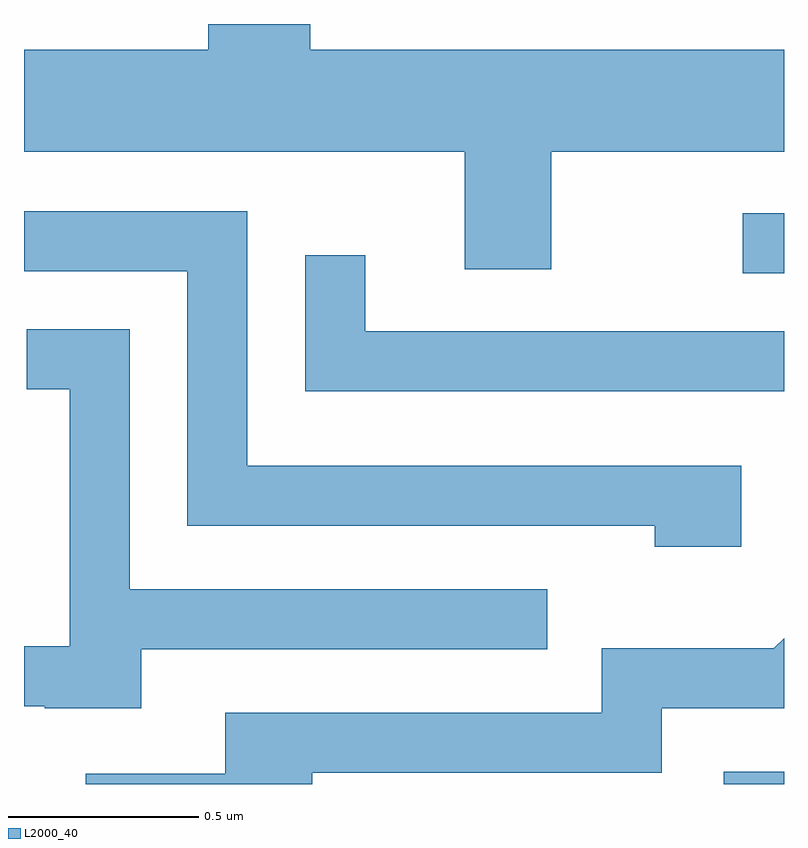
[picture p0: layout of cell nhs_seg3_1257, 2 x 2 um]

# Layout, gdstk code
import gdstk
lib = gdstk.Library(unit=1e-6, precision=1e-09)
def R(c, l, rs):  # rectangles x0, y0, x1, y1
    for r in rs: c.add(gdstk.rectangle(r[:2], r[2:], *l))
def P(c, l, *ps):  # polygons
    for p in ps: c.add(gdstk.Polygon(p, *l))
L2000_40 = (2000, 40)

nhs_seg3_1257 = lib.new_cell('nhs_seg3_1257')
R(nhs_seg3_1257, L2000_40, [(196.453,1139.892,196.611,1139.924), (196.503,1141.236,196.611,1141.394)])
P(nhs_seg3_1257, L2000_40, [(195.999,1141.556),(196.611,1141.556),(196.611,1141.824),(195.364,1141.824),(195.364,1141.892),(195.096,1141.892),(195.096,1141.824),(194.611,1141.824),(194.611,1141.556),(195.771,1141.556),(195.771,1141.246),(195.999,1141.246)],
  [(196.499,1140.729),(195.199,1140.729),(195.199,1141.399),(194.611,1141.399),(194.611,1141.241),(195.041,1141.241),(195.041,1140.571),(196.271,1140.571),(196.271,1140.516),(196.499,1140.516)],
  [(196.611,1141.084),(195.509,1141.084),(195.509,1141.283),(195.351,1141.283),(195.351,1140.926),(196.611,1140.926)],
  [(194.919,1140.246),(195.988,1140.246),(195.988,1140.404),(194.889,1140.404),(194.889,1141.089),(194.618,1141.089),(194.618,1140.931),(194.731,1140.931),(194.731,1140.254),(194.611,1140.254),(194.611,1140.096),(194.665,1140.096),(194.665,1140.091),(194.919,1140.091)],
  [(195.369,1139.921),(196.289,1139.921),(196.289,1140.091),(196.611,1140.091),(196.611,1140.276),(196.584,1140.249),(196.131,1140.249),(196.131,1140.079),(195.141,1140.079),(195.141,1139.919),(194.773,1139.919),(194.773,1139.892),(195.369,1139.892)])

lib.write_gds('nhs_seg3_1257.gds')
